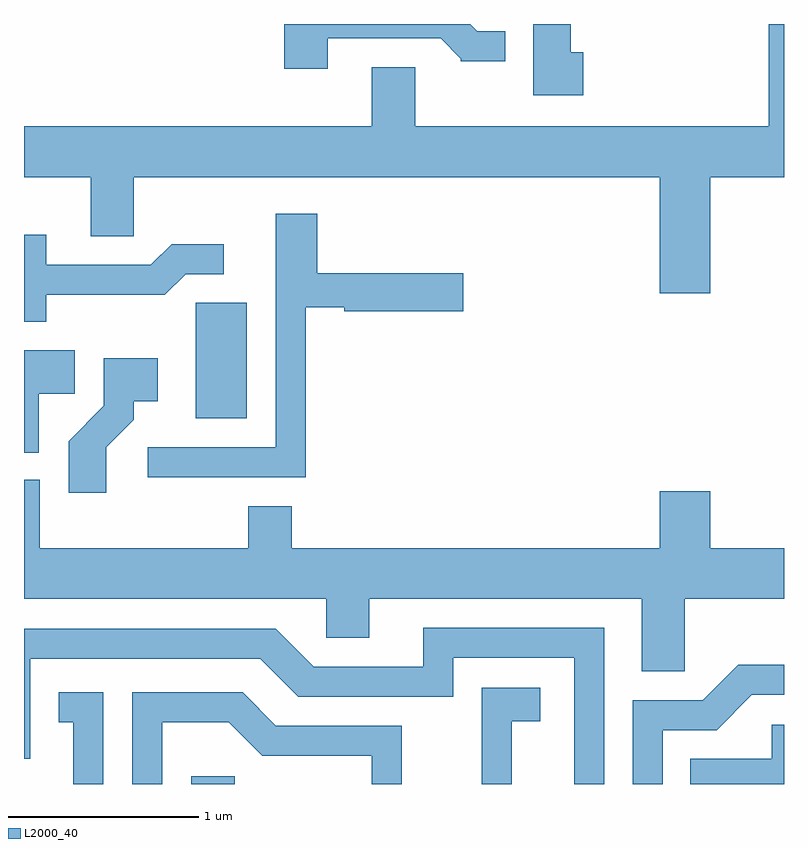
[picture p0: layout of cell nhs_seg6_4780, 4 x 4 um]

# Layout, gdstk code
import gdstk
lib = gdstk.Library(unit=1e-6, precision=1e-09)
def R(c, l, rs):  # rectangles x0, y0, x1, y1
    for r in rs: c.add(gdstk.rectangle(r[:2], r[2:], *l))
def P(c, l, *ps):  # polygons
    for p in ps: c.add(gdstk.Polygon(p, *l))
L2000_40 = (2000, 40)

nhs_seg6_4780 = lib.new_cell('nhs_seg6_4780')
R(nhs_seg6_4780, L2000_40, [(332.491,1560.162,332.719,1560.204), (332.516,1562.086,332.784,1562.694)])
P(nhs_seg6_4780, L2000_40, [(335.224,1563.356),(335.611,1563.356),(335.611,1564.162),(335.531,1564.162),(335.531,1563.624),(333.669,1563.624),(333.669,1563.934),(333.441,1563.934),(333.441,1563.624),(331.611,1563.624),(331.611,1563.356),(331.961,1563.356),(331.961,1563.046),(332.189,1563.046),(332.189,1563.356),(334.956,1563.356),(334.956,1562.746),(335.224,1562.746)],
  [(333.209,1564.086),(333.804,1564.086),(333.91,1563.98),(333.91,1563.966),(334.143,1563.966),(334.143,1564.124),(333.997,1564.124),(333.959,1564.162),(332.981,1564.162),(332.981,1563.926),(333.209,1563.926)],
  [(334.554,1564.014),(334.489,1564.014),(334.489,1564.162),(334.291,1564.162),(334.291,1563.786),(334.554,1563.786)],
  [(333.094,1562.671),(333.296,1562.671),(333.296,1562.651),(333.924,1562.651),(333.924,1562.849),(333.154,1562.849),(333.154,1563.164),(332.936,1563.164),(332.936,1561.934),(332.263,1561.934),(332.263,1561.776),(333.094,1561.776)],
  [(331.729,1562.736),(332.352,1562.736),(332.462,1562.846),(332.663,1562.846),(332.663,1563.004),(332.389,1563.004),(332.279,1562.894),(331.729,1562.894),(331.729,1563.054),(331.611,1563.054),(331.611,1562.596),(331.729,1562.596)],
  [(331.689,1562.216),(331.879,1562.216),(331.879,1562.444),(331.611,1562.444),(331.611,1561.906),(331.689,1561.906)],
  [(332.044,1561.934),(332.189,1562.079),(332.189,1562.176),(332.314,1562.176),(332.314,1562.404),(332.031,1562.404),(332.031,1562.152),(331.846,1561.967),(331.846,1561.696),(332.044,1561.696)],
  [(335.089,1561.136),(335.611,1561.136),(335.611,1561.404),(335.224,1561.404),(335.224,1561.704),(334.956,1561.704),(334.956,1561.404),(333.019,1561.404),(333.019,1561.624),(332.791,1561.624),(332.791,1561.404),(331.694,1561.404),(331.694,1561.763),(331.611,1561.763),(331.611,1561.136),(333.201,1561.136),(333.201,1560.931),(333.429,1560.931),(333.429,1561.136),(334.861,1561.136),(334.861,1560.756),(335.089,1560.756)],
  [(334.664,1560.984),(333.711,1560.984),(333.711,1560.779),(333.137,1560.779),(332.937,1560.979),(331.611,1560.979),(331.611,1560.296),(331.644,1560.296),(331.644,1560.821),(332.854,1560.821),(333.054,1560.621),(333.869,1560.621),(333.869,1560.826),(334.506,1560.826),(334.506,1560.162),(334.664,1560.162)],
  [(334.974,1560.446),(335.257,1560.446),(335.442,1560.631),(335.611,1560.631),(335.611,1560.789),(335.369,1560.789),(335.184,1560.604),(334.816,1560.604),(334.816,1560.162),(334.974,1560.162)],
  [(334.179,1560.491),(334.329,1560.491),(334.329,1560.669),(334.021,1560.669),(334.021,1560.162),(334.179,1560.162)],
  [(332.339,1560.486),(332.689,1560.486),(332.864,1560.311),(333.441,1560.311),(333.441,1560.162),(333.599,1560.162),(333.599,1560.469),(332.937,1560.469),(332.762,1560.644),(332.181,1560.644),(332.181,1560.162),(332.339,1560.162)],
  [(332.029,1560.644),(331.793,1560.644),(331.793,1560.486),(331.871,1560.486),(331.871,1560.162),(332.029,1560.162)],
  [(335.611,1560.474),(335.546,1560.474),(335.546,1560.294),(335.118,1560.294),(335.118,1560.162),(335.611,1560.162)])

lib.write_gds('nhs_seg6_4780.gds')
